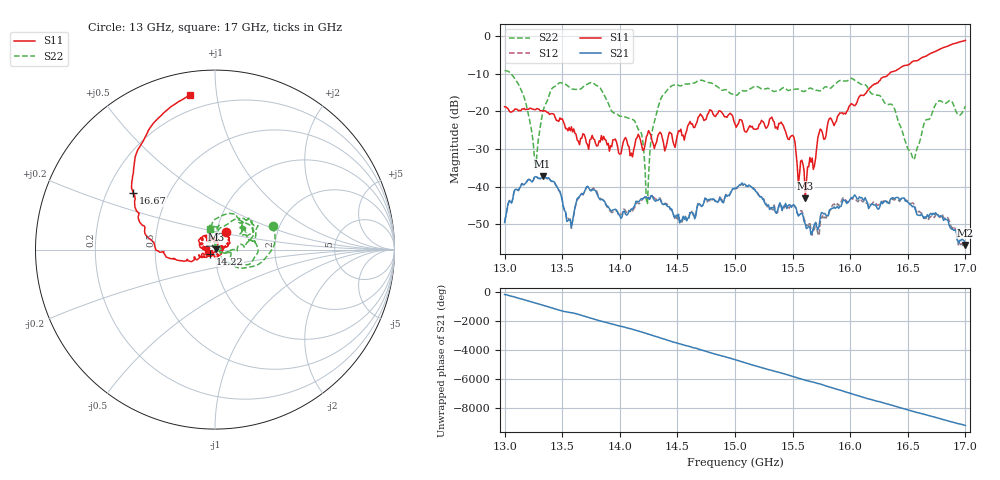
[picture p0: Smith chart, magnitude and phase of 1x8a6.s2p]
!Keysight Technologies,P9374A,MY57211807,A.19.30.04
!Date: Friday, May 08, 2026 14:10:16
!Correction: S11(C  2-Port  )
!S21(C  2-Port  )
!S12(C  2-Port  )
!S22(C  2-Port  )
!S2P File: Measurements: S11, S21, S12, S22:
# Hz S  dB  R 50
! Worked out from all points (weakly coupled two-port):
!   401 points, 13 GHz to 17 GHz, reference 50 ohm
!   highest |S21| = -37.28 dB at 13.33 GHz (marker M1); lowest = -55.5 dB at 17 GHz (marker M2)
!   lowest |S11| = -43.1 dB at 15.61 GHz (marker M3), VSWR 1.01, Z = 50.7 + j0.112 ohm
!   |S11| at or under -10 dB: start of sweep to 16.34 GHz
!   |S22| runs from -44.7 to -9.2 dB; largest |S21 - S12| = 0.0012
!   S11 on the Smith chart (normalised r, x): 13 GHz: 1.10, +0.22; 14.22 GHz: 0.94, -0.04; 16.67 GHz: 0.31, +0.28; 17 GHz: 0.12, +0.84
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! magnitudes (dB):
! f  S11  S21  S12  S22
! 13 GHz  -18.8  -49.5  -49.2  -9.2
! 13.16 GHz  -19.4  -39.5  -39.5  -15.5
! 13.27 GHz  -19.5  -37.3  -37.3  -34.9
! 13.33 GHz  -19.9  -37.3  -37.3  -20.5
! 13.56 GHz  -24.3  -48.8  -48.7  -13.6
! 13.67 GHz  -27.2  -41.8  -42.0  -13.9
! 14.13 GHz  -29.1  -45.0  -45.6  -22.6
! 14.19 GHz  -29.0  -43.2  -43.7  -26.1
! 14.22 GHz  -28.8  -42.7  -43.0  -35.8
! 14.24 GHz  -26.2  -42.9  -42.8  -44.7
! 14.34 GHz  -25.9  -43.3  -43.0  -18.1
! 14.54 GHz  -26.5  -48.9  -49.4  -13.1
! 14.78 GHz  -19.6  -43.4  -43.8  -12.4
! 15 GHz  -23.3  -40.4  -40.6  -15.8
! 15.4 GHz  -22.9  -45.0  -45.1  -14.1
! 15.61 GHz  -43.1  -49.9  -49.4  -14.6
! 15.67 GHz  -32.4  -52.2  -52.9  -14.0
! 15.82 GHz  -21.9  -46.2  -46.6  -13.9
! 16.34 GHz  -10.0  -44.2  -44.5  -18.2
! 16.54 GHz  -6.8  -45.3  -44.4  -32.2
! 16.67 GHz  -5.1  -47.4  -48.2  -22.1
! 17 GHz  -1.2  -55.5  -55.6  -18.6
